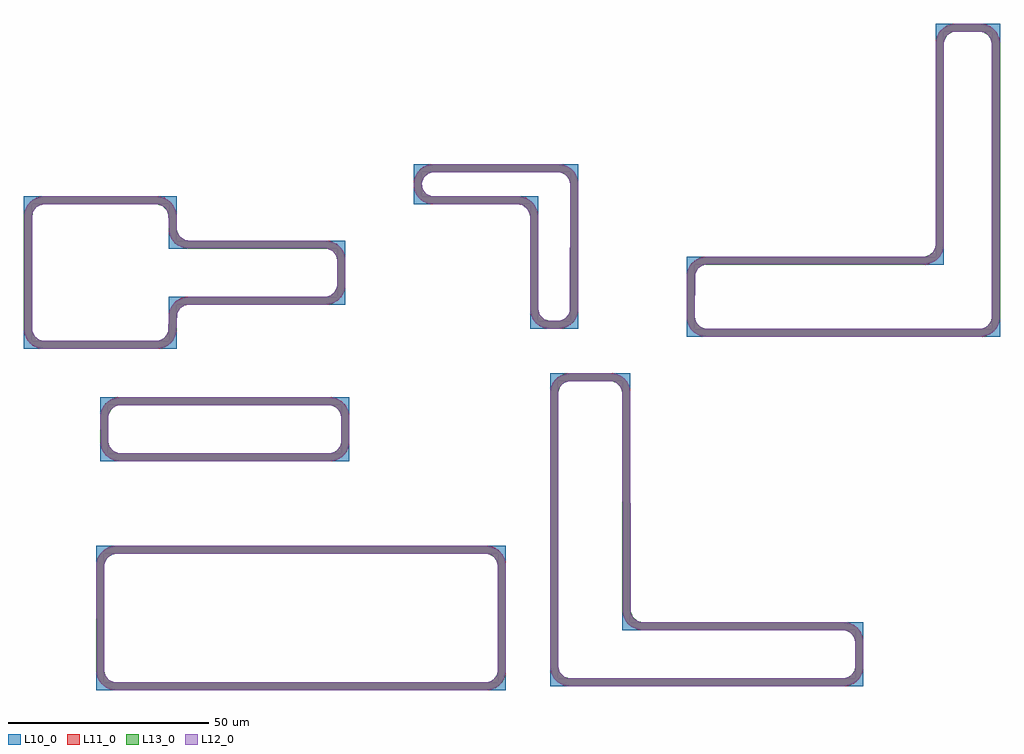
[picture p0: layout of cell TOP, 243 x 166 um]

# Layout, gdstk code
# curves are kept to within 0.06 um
import gdstk
lib = gdstk.Library(unit=1e-6, precision=1e-09)
def P(c, l, *ps):  # polygons
    for p in ps: c.add(gdstk.Polygon(p, *l))
L10_0 = (10, 0)
L11_0 = (11, 0)
L12_0 = (12, 0)
L13_0 = (13, 0)

top = lib.new_cell('TOP')
P(top, L10_0, [(5,-102),(5,-68),(7,-68),(7,-100),(105,-100),(105,-68),(5,-68),(5,-66),(107,-66),(107,-102)],
  [(6,-45),(6,-31),(8,-31),(8,-43),(66,-43),(66,-31),(6,-31),(6,-29),(68,-29),(68,-45)],
  [(118,-101),(118,-25),(120,-25),(120,-99),(194,-99),(194,-87),(136,-87),(136,-25),(118,-25),(118,-23),(138,-23),(138,-85),(196,-85),(196,-101)],
  [(-13,-17),(-13,19),(-11,19),(-11,-15),(23,-15),(23,-4),(65,-4),(65,8),(23,8),(23,19),(-13,19),(-13,21),(25,21),(25,10),(67,10),(67,-6),(25,-6),(25,-17)],
  [(113,-12),(113,19),(84,19),(84,27),(86,27),(86,21),(115,21),(115,-10),(123,-10),(123,27),(84,27),(84,29),(125,29),(125,-12)],
  [(152,-14),(152,6),(214,6),(214,62),(216,62),(216,4),(154,4),(154,-12),(228,-12),(228,62),(214,62),(214,64),(230,64),(230,-14)])
P(top, L11_0, [(9.843,-102),(8.909,-101.882),(8.013,-101.591),(7.188,-101.137),(6.463,-100.537),(5.863,-99.812),(5.409,-98.987),(5.02,-97.471),(5,-70.843),(5.293,-69.305),(5.999,-68),(9.906,-68),(8.808,-68.245),(7.878,-68.878),(7.245,-69.808),(7,-70.906),(7.012,-97.282),(7.326,-98.363),(8.015,-99.251),(8.808,-99.755),(9.906,-100),(102.094,-100),(102.837,-99.882),(103.687,-99.482),(104.372,-98.84),(104.755,-98.192),(104.988,-97.282),(105,-70.906),(104.755,-69.808),(104.122,-68.878),(103.192,-68.245),(102.094,-68),(5.999,-68),(6.934,-67.047),(8.305,-66.293),(9.843,-66),(102.157,-66),(103.695,-66.293),(105.066,-67.047),(105.953,-67.934),(106.707,-69.305),(107,-70.843),(106.98,-97.471),(106.707,-98.695),(105.953,-100.066),(105.066,-100.953),(103.695,-101.707),(102.157,-102)],
  [(10.843,-45),(9.305,-44.707),(7.934,-43.953),(6.863,-42.812),(6.196,-41.396),(6,-40.157),(6.02,-33.529),(6.293,-32.305),(6.999,-31),(10.906,-31),(9.808,-31.245),(8.878,-31.878),(8.245,-32.808),(8,-33.906),(8,-40.094),(8.118,-40.837),(8.518,-41.687),(9.16,-42.372),(9.983,-42.824),(10.906,-43),(63.47,-42.965),(64.192,-42.755),(64.985,-42.251),(65.584,-41.528),(65.882,-40.837),(66,-40.094),(66,-33.906),(65.755,-32.808),(65.251,-32.015),(64.363,-31.326),(63.282,-31.012),(6.999,-31),(7.463,-30.463),(8.188,-29.863),(9.013,-29.409),(9.909,-29.118),(10.843,-29),(63.471,-29.02),(64.987,-29.409),(66.308,-30.248),(67.306,-31.454),(67.882,-32.909),(68,-33.843),(68,-40.157),(67.804,-41.396),(67.306,-42.546),(66.308,-43.752),(65.271,-44.457),(64.091,-44.882),(63.157,-45)],
  [(122.843,-101),(121.909,-100.882),(121.013,-100.591),(120.188,-100.137),(119.463,-99.537),(118.863,-98.812),(118.409,-97.987),(118.118,-97.091),(118,-96.157),(118,-27.843),(118.293,-26.305),(118.999,-25),(122.906,-25),(121.808,-25.245),(120.878,-25.878),(120.245,-26.808),(120,-27.906),(120,-96.094),(120.245,-97.192),(120.878,-98.122),(121.808,-98.755),(122.906,-99),(191.094,-99),(192.192,-98.755),(192.985,-98.251),(193.584,-97.528),(193.965,-96.47),(194,-89.906),(193.929,-89.345),(193.584,-88.472),(193.122,-87.878),(192.528,-87.416),(191.655,-87.071),(191.094,-87),(140.843,-87),(139.604,-86.804),(138.729,-86.457),(137.934,-85.953),(137.047,-85.066),(136.293,-83.695),(136,-82.157),(136,-27.906),(135.882,-27.163),(135.584,-26.472),(134.985,-25.749),(134.192,-25.245),(133.47,-25.035),(118.999,-25),(119.692,-24.248),(120.454,-23.694),(121.305,-23.293),(122.217,-23.059),(133.783,-23.059),(135.271,-23.543),(136.537,-24.463),(137.137,-25.188),(137.591,-26.013),(137.98,-27.529),(138,-82.094),(138.245,-83.192),(138.749,-83.985),(139.16,-84.372),(139.808,-84.755),(140.906,-85),(191.157,-85),(192.091,-85.118),(193.271,-85.543),(194.308,-86.248),(195.137,-87.188),(195.707,-88.305),(196,-89.843),(195.941,-96.783),(195.707,-97.695),(195.306,-98.546),(194.308,-99.752),(193.546,-100.306),(192.695,-100.707),(191.157,-101)],
  [(-8.157,-17),(-9.091,-16.882),(-9.987,-16.591),(-10.812,-16.137),(-11.537,-15.537),(-12.137,-14.812),(-12.591,-13.987),(-12.98,-12.471),(-13,16.157),(-12.707,17.695),(-12.001,19),(-8.094,19),(-9.192,18.755),(-10.122,18.122),(-10.755,17.192),(-11,16.094),(-10.988,-12.282),(-10.755,-13.192),(-10.251,-13.985),(-9.528,-14.584),(-8.47,-14.965),(20.094,-15),(20.837,-14.882),(21.528,-14.584),(21.985,-14.251),(22.482,-13.687),(22.824,-13.017),(23,-12.094),(23.059,-8.217),(23.293,-7.305),(23.694,-6.454),(24.463,-5.463),(25.188,-4.863),(26.305,-4.293),(27.217,-4.059),(62.094,-4),(62.837,-3.882),(63.528,-3.584),(64.251,-2.985),(64.674,-2.363),(64.929,-1.655),(65,-1.094),(65,5.094),(64.755,6.192),(64.251,6.985),(63.363,7.674),(62.282,7.988),(27.843,8),(26.909,8.118),(26.013,8.409),(24.934,9.047),(24.248,9.692),(23.694,10.454),(23.293,11.305),(23.059,12.217),(23,16.094),(22.882,16.837),(22.584,17.528),(22.251,17.985),(21.687,18.482),(21.017,18.824),(20.094,19),(-12.001,19),(-11.537,19.537),(-10.812,20.137),(-9.396,20.804),(-8.157,21),(20.783,20.941),(21.695,20.707),(22.812,20.137),(23.537,19.537),(24.306,18.546),(24.707,17.695),(24.941,16.783),(25,12.906),(25.176,11.983),(25.518,11.313),(26.015,10.749),(26.472,10.416),(27.163,10.118),(27.906,10),(62.471,9.98),(63.695,9.707),(65.066,8.953),(66.137,7.812),(66.804,6.396),(67,5.157),(67,-1.157),(66.804,-2.396),(66.306,-3.546),(65.537,-4.537),(64.546,-5.306),(63.396,-5.804),(62.157,-6),(27.53,-6.035),(26.808,-6.245),(26.16,-6.628),(25.628,-7.16),(25.176,-7.983),(25,-8.906),(24.941,-12.783),(24.707,-13.695),(24.306,-14.546),(23.752,-15.308),(23.066,-15.953),(22.271,-16.457),(21.396,-16.804),(20.157,-17)],
  [(117.843,-12),(116.305,-11.707),(115.454,-11.306),(114.692,-10.752),(113.694,-9.546),(113.293,-8.695),(113.059,-7.783),(113,16.094),(112.755,17.192),(112.251,17.985),(111.84,18.372),(111.192,18.755),(110.094,19),(88.843,19),(87.909,19.118),(86.454,19.694),(85.692,20.248),(85.047,20.934),(84.543,21.729),(84.196,22.604),(84.02,23.529),(84.02,24.471),(84.293,25.695),(84.999,27),(88.906,27),(87.808,26.755),(87.015,26.251),(86.416,25.528),(86.035,24.47),(86.035,23.53),(86.416,22.472),(87.16,21.628),(88.163,21.118),(88.906,21),(110.157,21),(111.091,20.882),(111.987,20.591),(112.812,20.137),(113.537,19.537),(114.137,18.812),(114.591,17.987),(114.882,17.091),(115,16.157),(115,-7.094),(115.071,-7.655),(115.245,-8.192),(115.628,-8.84),(116.16,-9.372),(116.808,-9.755),(117.718,-9.988),(120.094,-10),(121.192,-9.755),(122.122,-9.122),(122.755,-8.192),(123,-7.094),(123,24.094),(122.824,25.017),(122.372,25.84),(121.84,26.372),(121.363,26.674),(120.655,26.929),(120.094,27),(84.999,27),(85.934,27.953),(87.305,28.707),(88.843,29),(120.157,29),(121.396,28.804),(122.271,28.457),(123.066,27.953),(123.953,27.066),(124.707,25.695),(125,24.157),(124.941,-7.783),(124.707,-8.695),(124.137,-9.812),(123.537,-10.537),(122.546,-11.306),(121.695,-11.707),(120.783,-11.941)],
  [(156.843,-14),(155.909,-13.882),(155.013,-13.591),(154.188,-13.137),(153.463,-12.537),(152.863,-11.812),(152.409,-10.987),(152.02,-9.471),(152,1.157),(152.118,2.091),(152.543,3.271),(153.248,4.308),(154.188,5.137),(155.305,5.707),(156.843,6),(211.094,6),(211.655,6.071),(212.363,6.326),(212.84,6.628),(213.372,7.16),(213.824,7.983),(214,8.906),(214,59.157),(214.293,60.695),(214.999,62),(218.906,62),(217.808,61.755),(217.015,61.251),(216.326,60.363),(216.012,59.282),(216,8.843),(215.707,7.305),(215.306,6.454),(214.752,5.692),(214.066,5.047),(212.987,4.409),(212.091,4.118),(211.157,4),(156.906,4),(156.345,3.929),(155.472,3.584),(154.749,2.985),(154.245,2.192),(154.035,1.47),(154.035,-9.47),(154.416,-10.528),(155.015,-11.251),(155.808,-11.755),(156.906,-12),(225.094,-12),(226.192,-11.755),(226.84,-11.372),(227.251,-10.985),(227.755,-10.192),(228,-9.094),(227.965,59.47),(227.755,60.192),(227.251,60.985),(226.528,61.584),(225.655,61.929),(225.094,62),(214.999,62),(215.692,62.752),(216.729,63.457),(217.604,63.804),(218.843,64),(225.783,63.941),(226.987,63.591),(228.308,62.752),(228.953,62.066),(229.591,60.987),(229.882,60.091),(230,59.157),(230,-9.157),(229.707,-10.695),(229.306,-11.546),(228.752,-12.308),(228.066,-12.953),(226.987,-13.591),(226.091,-13.882),(225.157,-14)])
P(top, L12_0, [(102.471,-101.98),(9.217,-101.941),(8.013,-101.591),(6.934,-100.953),(6.047,-100.066),(5.409,-98.987),(5.059,-97.783),(5.02,-70.529),(5.293,-69.305),(6.029,-68),(102.094,-68),(9.345,-68.071),(8.637,-68.326),(7.518,-69.313),(7.012,-70.718),(7.035,-97.47),(7.245,-98.192),(8.16,-99.372),(9.53,-99.965),(102.282,-99.988),(103.687,-99.482),(104.674,-98.363),(104.929,-97.655),(105,-70.906),(104.584,-69.472),(103.528,-68.416),(102.094,-68),(6.029,-68),(6.692,-67.248),(7.729,-66.543),(9.529,-66.02),(102.157,-66),(103.396,-66.196),(104.546,-66.694),(105.537,-67.463),(106.306,-68.454),(106.804,-69.604),(107,-70.843),(106.98,-97.471),(106.457,-99.271),(105.752,-100.308),(104.812,-101.137),(103.695,-101.707)],
  [(63.471,-44.98),(10.217,-44.941),(9.013,-44.591),(7.934,-43.953),(7.047,-43.066),(6.409,-41.987),(6.059,-40.783),(6.02,-33.529),(6.293,-32.305),(7.029,-31),(63.094,-31),(10.345,-31.071),(9.637,-31.326),(8.518,-32.313),(8.012,-33.718),(8.035,-40.47),(8.245,-41.192),(9.16,-42.372),(10.53,-42.965),(63.282,-42.988),(64.687,-42.482),(65.674,-41.363),(65.929,-40.655),(66,-33.906),(65.584,-32.472),(64.528,-31.416),(63.094,-31),(7.029,-31),(7.692,-30.248),(8.729,-29.543),(10.529,-29.02),(63.157,-29),(64.396,-29.196),(65.546,-29.694),(66.537,-30.463),(67.306,-31.454),(67.804,-32.604),(68,-33.843),(67.98,-40.471),(67.457,-42.271),(66.752,-43.308),(65.812,-44.137),(64.695,-44.707)],
  [(191.471,-100.98),(122.217,-100.941),(121.013,-100.591),(119.934,-99.953),(119.047,-99.066),(118.409,-97.987),(118.059,-96.783),(118.02,-27.529),(118.293,-26.305),(119.018,-25.012),(122.718,-25.012),(121.313,-25.518),(120.326,-26.637),(120.071,-27.345),(120,-96.094),(120.416,-97.528),(121.472,-98.584),(122.53,-98.965),(191.282,-98.988),(192.687,-98.482),(193.674,-97.363),(193.929,-96.655),(194,-89.906),(193.584,-88.472),(192.528,-87.416),(191.094,-87),(140.529,-86.98),(138.729,-86.457),(137.692,-85.752),(136.863,-84.812),(136.293,-83.695),(136.02,-82.471),(135.965,-27.53),(135.372,-26.16),(134.192,-25.245),(133.47,-25.035),(119.018,-25.012),(119.692,-24.248),(120.729,-23.543),(122.529,-23.02),(133.157,-23),(134.396,-23.196),(135.546,-23.694),(136.537,-24.463),(137.306,-25.454),(137.804,-26.604),(138,-27.843),(138.071,-82.655),(138.749,-83.985),(139.983,-84.824),(140.718,-84.988),(191.783,-85.059),(192.987,-85.409),(194.066,-86.047),(194.953,-86.934),(195.591,-88.013),(195.941,-89.217),(195.98,-96.471),(195.707,-97.695),(195.137,-98.812),(194.308,-99.752),(193.271,-100.457)],
  [(20.471,-16.98),(-8.783,-16.941),(-9.987,-16.591),(-11.066,-15.953),(-11.953,-15.066),(-12.591,-13.987),(-12.941,-12.783),(-12.98,16.471),(-12.707,17.695),(-11.971,19),(20.094,19),(-8.655,18.929),(-9.985,18.251),(-10.824,17.017),(-10.988,16.282),(-10.965,-12.47),(-10.372,-13.84),(-9.192,-14.755),(-8.47,-14.965),(20.282,-14.988),(21.687,-14.482),(22.674,-13.363),(22.929,-12.655),(23,-8.843),(23.196,-7.604),(23.694,-6.454),(24.463,-5.463),(25.454,-4.694),(26.604,-4.196),(27.843,-4),(62.655,-3.929),(63.363,-3.674),(64.482,-2.687),(64.988,-1.282),(64.965,5.47),(64.755,6.192),(63.84,7.372),(62.47,7.965),(27.529,8.02),(26.305,8.293),(25.188,8.863),(24.248,9.692),(23.543,10.729),(23.118,11.909),(22.882,16.837),(22.122,18.122),(20.837,18.882),(20.094,19),(-11.971,19),(-11.308,19.752),(-10.271,20.457),(-8.471,20.98),(20.157,21),(21.396,20.804),(22.546,20.306),(23.537,19.537),(24.306,18.546),(24.804,17.396),(25,16.157),(25.071,12.345),(25.749,11.015),(26.983,10.176),(27.718,10.012),(62.783,9.941),(63.987,9.591),(65.066,8.953),(65.953,8.066),(66.591,6.987),(66.941,5.783),(66.98,-1.471),(66.707,-2.695),(66.137,-3.812),(65.308,-4.752),(64.271,-5.457),(62.471,-5.98),(27.906,-6),(27.163,-6.118),(25.878,-6.878),(25.118,-8.163),(24.882,-13.091),(24.457,-14.271),(23.752,-15.308),(22.812,-16.137),(21.695,-16.707)],
  [(120.471,-11.98),(117.217,-11.941),(116.013,-11.591),(114.934,-10.953),(114.047,-10.066),(113.409,-8.987),(113.059,-7.783),(112.988,16.282),(112.482,17.687),(111.363,18.674),(110.655,18.929),(88.843,19),(87.604,19.196),(86.454,19.694),(85.463,20.463),(84.694,21.454),(84.196,22.604),(84,23.843),(84.118,25.091),(84.543,26.271),(85.039,27),(120.094,27),(88.345,26.929),(87.637,26.674),(86.518,25.687),(86.012,24.282),(86.245,22.808),(87.16,21.628),(88.53,21.035),(110.471,20.98),(111.695,20.707),(112.812,20.137),(113.752,19.308),(114.457,18.271),(114.98,16.471),(115,-7.094),(115.416,-8.528),(116.472,-9.584),(117.53,-9.965),(120.282,-9.988),(121.687,-9.482),(122.674,-8.363),(122.929,-7.655),(123,24.094),(122.584,25.528),(121.528,26.584),(120.094,27),(85.039,27),(85.248,27.308),(86.188,28.137),(87.305,28.707),(88.529,28.98),(120.783,28.941),(121.987,28.591),(123.066,27.953),(123.953,27.066),(124.591,25.987),(124.941,24.783),(124.98,-7.471),(124.707,-8.695),(124.137,-9.812),(123.308,-10.752),(122.271,-11.457)],
  [(225.471,-13.98),(156.217,-13.941),(155.013,-13.591),(153.934,-12.953),(153.047,-12.066),(152.409,-10.987),(152.059,-9.783),(152.02,1.471),(152.293,2.695),(152.863,3.812),(153.692,4.752),(154.729,5.457),(156.529,5.98),(211.094,6),(211.837,6.118),(213.122,6.878),(213.882,8.163),(214,8.906),(214.02,59.471),(214.543,61.271),(215.039,62),(225.094,62),(218.345,61.929),(217.637,61.674),(216.518,60.687),(216.012,59.282),(215.941,8.217),(215.591,7.013),(214.953,5.934),(214.066,5.047),(212.987,4.409),(211.783,4.059),(156.718,3.988),(155.983,3.824),(154.749,2.985),(154.071,1.655),(154,-9.094),(154.118,-9.837),(154.878,-11.122),(156.163,-11.882),(156.53,-11.965),(225.282,-11.988),(226.687,-11.482),(227.674,-10.363),(227.929,-9.655),(228,59.094),(227.584,60.528),(226.528,61.584),(225.094,62),(215.039,62),(215.248,62.308),(216.188,63.137),(217.305,63.707),(218.529,63.98),(225.783,63.941),(226.987,63.591),(228.066,62.953),(228.953,62.066),(229.591,60.987),(229.941,59.783),(229.98,-9.471),(229.707,-10.695),(229.137,-11.812),(228.308,-12.752),(227.271,-13.457)])
P(top, L13_0, [(9.843,-102),(8.013,-101.591),(6.934,-100.953),(6.047,-100.066),(5.409,-98.987),(5,-97.157),(5,-70.843),(5.118,-69.909),(5.543,-68.729),(6.039,-68),(9.906,-68),(8.983,-68.176),(7.749,-69.015),(7.071,-70.345),(7,-70.906),(7,-97.094),(7.245,-98.192),(8.16,-99.372),(9.53,-99.965),(9.906,-100),(102.094,-100),(102.655,-99.929),(103.985,-99.251),(104.824,-98.017),(105,-97.094),(105,-70.906),(104.882,-70.163),(104.122,-68.878),(102.837,-68.118),(102.094,-68),(6.039,-68),(6.248,-67.692),(7.188,-66.863),(8.305,-66.293),(9.843,-66),(102.157,-66),(103.396,-66.196),(104.546,-66.694),(105.537,-67.463),(106.306,-68.454),(106.804,-69.604),(107,-70.843),(107,-97.157),(106.707,-98.695),(106.137,-99.812),(105.308,-100.752),(104.271,-101.457),(103.091,-101.882),(102.157,-102)],
  [(10.843,-45),(9.013,-44.591),(7.934,-43.953),(7.047,-43.066),(6.409,-41.987),(6,-40.157),(6,-33.843),(6.118,-32.909),(6.543,-31.729),(7.039,-31),(10.906,-31),(9.983,-31.176),(8.749,-32.015),(8.071,-33.345),(8,-33.906),(8,-40.094),(8.245,-41.192),(9.16,-42.372),(10.53,-42.965),(10.906,-43),(63.094,-43),(63.655,-42.929),(64.985,-42.251),(65.824,-41.017),(66,-40.094),(66,-33.906),(65.882,-33.163),(65.122,-31.878),(63.837,-31.118),(63.094,-31),(7.039,-31),(7.248,-30.692),(8.188,-29.863),(9.305,-29.293),(10.843,-29),(63.157,-29),(64.396,-29.196),(65.546,-29.694),(66.537,-30.463),(67.306,-31.454),(67.804,-32.604),(68,-33.843),(68,-40.157),(67.707,-41.695),(67.137,-42.812),(66.308,-43.752),(65.271,-44.457),(64.091,-44.882),(63.157,-45)],
  [(122.843,-101),(121.013,-100.591),(119.934,-99.953),(119.047,-99.066),(118.409,-97.987),(118,-96.157),(118,-27.843),(118.118,-26.909),(118.543,-25.729),(119.039,-25),(122.906,-25),(121.637,-25.326),(120.518,-26.313),(120,-27.906),(120,-96.094),(120.416,-97.528),(121.472,-98.584),(122.906,-99),(191.094,-99),(191.655,-98.929),(192.985,-98.251),(193.824,-97.017),(194,-96.094),(194,-89.906),(193.882,-89.163),(193.122,-87.878),(191.837,-87.118),(191.094,-87),(140.843,-87),(139.305,-86.707),(138.188,-86.137),(137.248,-85.308),(136.543,-84.271),(136.118,-83.091),(136,-82.157),(136,-27.906),(135.755,-26.808),(134.84,-25.628),(133.47,-25.035),(119.039,-25),(119.248,-24.692),(120.188,-23.863),(121.305,-23.293),(122.843,-23),(133.157,-23),(134.396,-23.196),(135.546,-23.694),(136.537,-24.463),(137.306,-25.454),(137.804,-26.604),(138,-27.843),(138,-82.094),(138.518,-83.687),(139.637,-84.674),(140.906,-85),(191.157,-85),(192.987,-85.409),(194.066,-86.047),(194.953,-86.934),(195.591,-88.013),(196,-89.843),(196,-96.157),(195.882,-97.091),(195.457,-98.271),(194.752,-99.308),(193.812,-100.137),(192.695,-100.707),(191.157,-101)],
  [(-8.157,-17),(-9.987,-16.591),(-11.066,-15.953),(-11.953,-15.066),(-12.591,-13.987),(-13,-12.157),(-13,16.157),(-12.882,17.091),(-12.457,18.271),(-11.961,19),(-8.094,19),(-9.687,18.482),(-10.674,17.363),(-11,16.094),(-10.965,-12.47),(-10.372,-13.84),(-9.192,-14.755),(-8.094,-15),(20.094,-15),(20.655,-14.929),(21.985,-14.251),(22.824,-13.017),(23,-12.094),(23,-8.843),(23.196,-7.604),(23.694,-6.454),(24.463,-5.463),(25.454,-4.694),(26.604,-4.196),(27.843,-4),(62.094,-4),(63.017,-3.824),(64.251,-2.985),(64.929,-1.655),(65,-1.094),(65,5.094),(64.755,6.192),(63.84,7.372),(62.47,7.965),(62.094,8),(27.843,8),(26.909,8.118),(25.729,8.543),(24.692,9.248),(23.863,10.188),(23.293,11.305),(23,12.843),(23,16.094),(22.584,17.528),(21.528,18.584),(20.094,19),(-11.961,19),(-11.752,19.308),(-10.812,20.137),(-9.695,20.707),(-8.157,21),(20.157,21),(21.396,20.804),(22.546,20.306),(23.537,19.537),(24.306,18.546),(24.804,17.396),(25,16.157),(25.012,12.718),(25.518,11.313),(26.637,10.326),(27.906,10),(62.157,10),(63.987,9.591),(65.066,8.953),(65.953,8.066),(66.591,6.987),(67,5.157),(67,-1.157),(66.882,-2.091),(66.457,-3.271),(65.752,-4.308),(64.812,-5.137),(63.695,-5.707),(62.157,-6),(27.906,-6),(27.163,-6.118),(25.878,-6.878),(25.118,-8.163),(25,-8.906),(25,-12.157),(24.707,-13.695),(24.137,-14.812),(23.308,-15.752),(22.271,-16.457),(21.091,-16.882),(20.157,-17)],
  [(117.843,-12),(116.013,-11.591),(114.934,-10.953),(114.047,-10.066),(113.409,-8.987),(113,-7.157),(113,16.094),(112.674,17.363),(111.687,18.482),(110.094,19),(88.843,19),(87.604,19.196),(86.454,19.694),(85.463,20.463),(84.694,21.454),(84.196,22.604),(84,24.157),(84.293,25.695),(85.029,27),(88.906,27),(87.983,26.824),(86.749,25.985),(86.071,24.655),(86,24.094),(86.245,22.808),(87.16,21.628),(88.53,21.035),(110.157,21),(111.091,20.882),(112.271,20.457),(113.308,19.752),(114.137,18.812),(114.707,17.695),(115,16.157),(115,-7.094),(115.416,-8.528),(116.472,-9.584),(117.906,-10),(120.094,-10),(120.655,-9.929),(121.985,-9.251),(122.824,-8.017),(123,-7.094),(123,24.094),(122.882,24.837),(122.122,26.122),(120.837,26.882),(120.094,27),(85.029,27),(85.692,27.752),(86.729,28.457),(87.909,28.882),(88.843,29),(120.157,29),(121.987,28.591),(123.066,27.953),(123.953,27.066),(124.591,25.987),(125,24.157),(125,-7.157),(124.882,-8.091),(124.457,-9.271),(123.752,-10.308),(122.812,-11.137),(121.695,-11.707),(120.157,-12)],
  [(156.843,-14),(155.013,-13.591),(153.934,-12.953),(153.047,-12.066),(152.409,-10.987),(152,-9.157),(152,1.157),(152.118,2.091),(152.543,3.271),(153.248,4.308),(154.188,5.137),(155.305,5.707),(156.843,6),(211.094,6),(212.528,6.416),(213.584,7.472),(214,8.906),(214,59.157),(214.293,60.695),(215.029,62),(218.906,62),(217.983,61.824),(216.749,60.985),(216.071,59.655),(216,59.094),(216,8.843),(215.591,7.013),(214.953,5.934),(214.066,5.047),(212.987,4.409),(211.157,4),(156.906,4),(155.637,3.674),(154.518,2.687),(154.012,1.282),(154,-9.094),(154.416,-10.528),(155.472,-11.584),(156.906,-12),(225.094,-12),(225.655,-11.929),(226.985,-11.251),(227.824,-10.017),(228,-9.094),(228,59.094),(227.882,59.837),(227.122,61.122),(225.837,61.882),(225.094,62),(215.029,62),(215.692,62.752),(216.729,63.457),(217.909,63.882),(218.843,64),(225.157,64),(226.987,63.591),(228.066,62.953),(228.953,62.066),(229.591,60.987),(230,59.157),(230,-9.157),(229.882,-10.091),(229.457,-11.271),(228.752,-12.308),(227.812,-13.137),(226.695,-13.707),(225.157,-14)])

lib.write_gds('TOP.gds')
